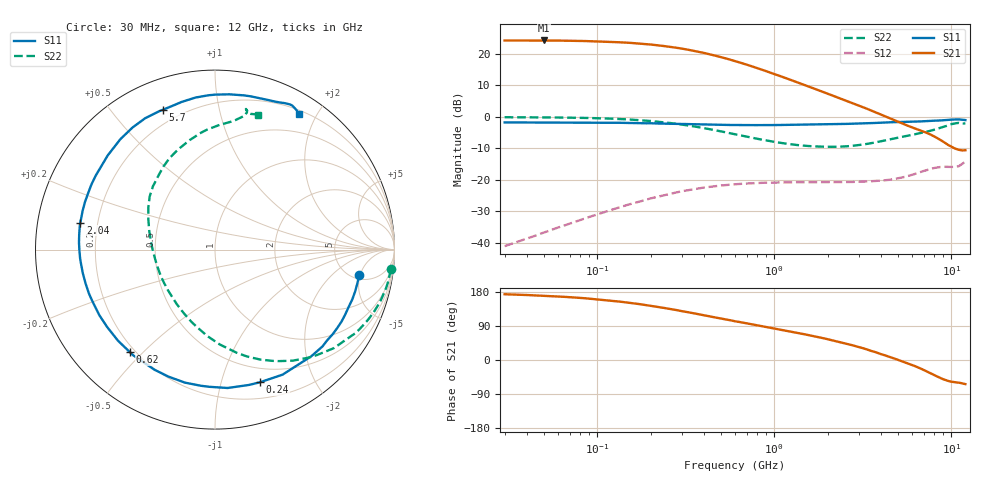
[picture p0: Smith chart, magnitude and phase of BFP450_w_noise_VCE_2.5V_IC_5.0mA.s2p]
! (c) 2015  Infineon Technologies AG, Munich
! Infineon Technologies  Discrete & RF Semiconductors
! BFP450
! VCE =  2.5 V,  IC =  5.0 mA
! Common Emitter S-Parameters:  Nov 2015
# GHz  S  MA  R  50
!  f  S11  S21  S12  S22
! GHz  MAG  ANG  MAG  ANG  MAG  ANG  MAG  ANG
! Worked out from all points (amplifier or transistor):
!   239 points, 30 MHz to 12 GHz, reference 50 ohm
!   highest |S21| = 24.3 dB at 50 MHz (marker M1)
!   |S21| within 3 dB of that: start of sweep to 329.5 MHz
!   unconditionally stable (mu >= 1): 2.451 GHz to end of sweep
!   at 300 MHz: K = 0.09, MSG = 22.7 dB, |S12| = -23.7 dB
!   at 1.88 GHz: K = 0.75, MSG = 14.3 dB, |S12| = -20.7 dB
!   at 12 GHz: K = 1.17, MAG = -0.7 dB, |S12| = -14.2 dB
!   lowest NFmin = 1.02 dB at 450 MHz
!   S11 on the Smith chart (normalised r, x): 30 MHz: 5.75, -4.83; 240 MHz: 0.35, -1.33; 620 MHz: 0.18, -0.46; 2.04 GHz: 0.13, +0.10; 5.7 GHz: 0.14, +0.69; 12 GHz: 0.25, +1.77
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0.03  0.8162 -9.9  16.36 173.5  0.0088 84.4  0.9863 -6.4
0.05  0.8149 -16.6  16.39 169.4  0.0145 81.1  0.9807 -10.7
0.06  0.8136 -20.0  16.31 167.8  0.0174 79.4  0.9768 -12.8
0.085  0.8106 -28.0  16.05 163.0  0.0242 75.4  0.9624 -18.0
0.11  0.8076 -35.7  15.7 158.3  0.0307 71.2  0.9446 -23.0
0.15  0.8005 -48.0  15.09 151.2  0.0403 65.2  0.9105 -30.7
0.18  0.79 -56.1  14.47 146.4  0.0463 60.7  0.8774 -36.0
0.2  0.792 -61.6  14.13 142.9  0.0505 58.3  0.8598 -39.7
0.24  0.7805 -71.3  13.32 137.2  0.0572 53.3  0.817 -46.0
0.3  0.7742 -84.8  12.18 129.0  0.0656 46.8  0.7554 -55.0
0.36  0.7626 -96.0  11.05 122.3  0.0717 41.4  0.6976 -62.7
0.45  0.7537 -110.2  9.601 113.4  0.0785 34.7  0.6231 -73.1
0.6  0.7446 -127.8  7.692 102.2  0.0849 26.7  0.5292 -87.1
0.62  0.7425 -129.6  7.494 101.2  0.0853 25.9  0.5194 -88.6
0.8  0.7396 -144.3  5.955 91.2  0.0888 19.8  0.4486 -102.0
1  0.741 -156.1  4.79 82.9  0.0906 15.3  0.4003 -114.4
1.64  0.7563 179.4  2.883 63.6  0.0918 8.0  0.341 -144.4
2.04  0.7652 168.7  2.288 54.1  0.0919 5.8  0.3343 -158.4
3  0.7821 148.2  1.51 34.1  0.093 4.0  0.3558 174.8
4.5  0.8209 124.0  0.946 7.6  0.1001 3.7  0.4399 147.6
5.7  0.8314 110.3  0.719 -9.4  0.115 2.7  0.5021 131.8
12  0.8891 58.1  0.295 -63.6  0.1939 -35.4  0.7894 72.4
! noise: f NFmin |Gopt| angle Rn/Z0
0.45  1.02  0.17  79  -0.42
0.9  1.04  0.32  121  0.06
1.9  1.3  0.52  173  0.06
2.4  1.54  0.55  -171  0.06
